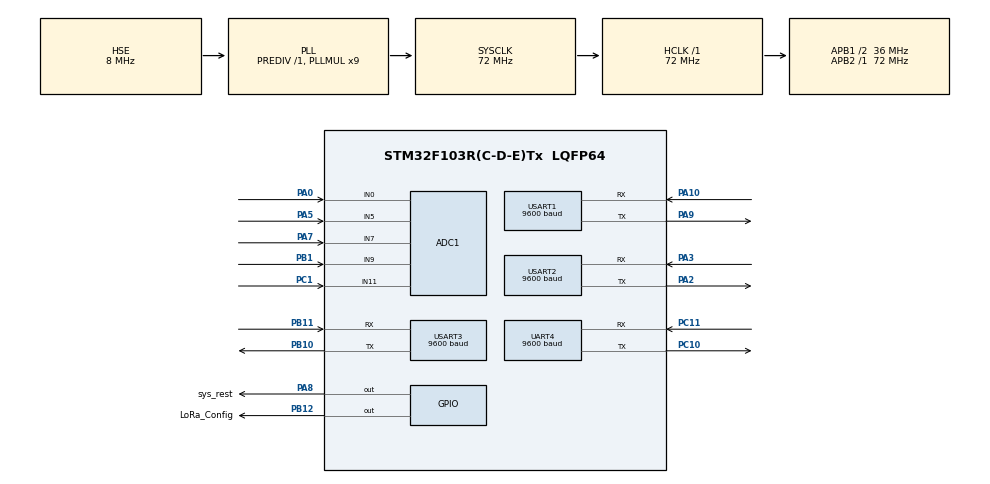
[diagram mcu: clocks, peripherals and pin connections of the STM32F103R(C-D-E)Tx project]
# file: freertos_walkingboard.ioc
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ADC1.Channel-0\#ChannelRegularConversion=ADC_CHANNEL_0
ADC1.Channel-1\#ChannelRegularConversion=ADC_CHANNEL_5
ADC1.Channel-2\#ChannelRegularConversion=ADC_CHANNEL_7
ADC1.Channel-3\#ChannelRegularConversion=ADC_CHANNEL_9
ADC1.Channel-4\#ChannelRegularConversion=ADC_CHANNEL_11
ADC1.ContinuousConvMode=ENABLE
ADC1.NbrOfConversion=5
ADC1.NbrOfConversionFlag=1
ADC1.Rank-0\#ChannelRegularConversion=1
ADC1.Rank-1\#ChannelRegularConversion=2
ADC1.Rank-2\#ChannelRegularConversion=3
ADC1.Rank-3\#ChannelRegularConversion=4
ADC1.Rank-4\#ChannelRegularConversion=5
ADC1.SamplingTime-0\#ChannelRegularConversion=ADC_SAMPLETIME_239CYCLES_5
ADC1.SamplingTime-1\#ChannelRegularConversion=ADC_SAMPLETIME_239CYCLES_5
ADC1.SamplingTime-2\#ChannelRegularConversion=ADC_SAMPLETIME_239CYCLES_5
ADC1.SamplingTime-3\#ChannelRegularConversion=ADC_SAMPLETIME_239CYCLES_5
ADC1.SamplingTime-4\#ChannelRegularConversion=ADC_SAMPLETIME_239CYCLES_5
ADC1.master=1
Dma.ADC1.0.Direction=DMA_PERIPH_TO_MEMORY
Dma.ADC1.0.Instance=DMA1_Channel1
Dma.ADC1.0.MemDataAlignment=DMA_MDATAALIGN_HALFWORD
Dma.ADC1.0.MemInc=DMA_MINC_ENABLE
Dma.ADC1.0.Mode=DMA_CIRCULAR
Dma.ADC1.0.PeriphDataAlignment=DMA_PDATAALIGN_HALFWORD
Dma.ADC1.0.PeriphInc=DMA_PINC_DISABLE
Dma.ADC1.0.Priority=DMA_PRIORITY_LOW
Dma.Request0=ADC1
FREERTOS.BinarySemaphores01=myBinarySem_Communication,Dynamic,NULL
FREERTOS.Tasks01=Uart4_LoRa_Task,0,300,Start_LoRa_FNC,Default,NULL,Dynamic,NULL,NULL;Battery_Task_1,-2,128,Start_Battery_FNC,Default,NULL,Dynamic,NULL,NULL;Angle_Task_2,-2,128,Start_Angle_FNC,Default,NULL,Dynamic,NULL,NULL;GNSS_Task_3,-2,200,Start_GNSS_FNC,Default,NULL,Dynamic,NULL,NULL;Pull_Task_0,-2,128,Start_Pull_FNC,Default,NULL,Dynamic,NULL,NULL;Upstream_Task,-2,128,Start_upstream_FNC,Default,NULL,Dynamic,NULL,NULL
FREERTOS.configTOTAL_HEAP_SIZE=6144
Mcu.Family=STM32F1
Mcu.Name=STM32F103R(C-D-E)Tx
Mcu.Package=LQFP64
NVIC.DMA1_Channel1_IRQn=true\:5\:0\:false\:false\:true\:true\:false\:true
NVIC.PriorityGroup=NVIC_PRIORITYGROUP_4
NVIC.TIM6_IRQn=true\:0\:0\:false\:false\:true\:false\:false\:true
NVIC.TimeBase=TIM6_IRQn
NVIC.TimeBaseIP=TIM6
NVIC.UART4_IRQn=true\:5\:0\:false\:false\:true\:true\:true\:true
NVIC.USART1_IRQn=true\:5\:0\:false\:false\:true\:true\:true\:true
NVIC.USART2_IRQn=true\:5\:0\:false\:false\:true\:true\:true\:true
NVIC.USART3_IRQn=true\:5\:0\:false\:false\:true\:true\:true\:true
PA0-WKUP.Signal=ADCx_IN0
PA10.Mode=Asynchronous
PA10.Signal=USART1_RX
PA13.Mode=Serial_Wire
PA13.Signal=SYS_JTMS-SWDIO
PA14.Mode=Serial_Wire
PA14.Signal=SYS_JTCK-SWCLK
PA2.Mode=Asynchronous
PA2.Signal=USART2_TX
PA3.Mode=Asynchronous
PA3.Signal=USART2_RX
PA5.Signal=ADCx_IN5
PA7.Signal=ADCx_IN7
PA8.GPIO_Label=sys_rest
PA8.PinState=GPIO_PIN_SET
PA8.Signal=GPIO_Output
PA9.Mode=Asynchronous
PA9.Signal=USART1_TX
PB1.Signal=ADCx_IN9
PB10.Mode=Asynchronous
PB10.Signal=USART3_TX
PB11.Mode=Asynchronous
PB11.Signal=USART3_RX
PB12.GPIO_Label=LoRa_Config
PB12.PinState=GPIO_PIN_SET
PB12.Signal=GPIO_Output
PC1.Signal=ADCx_IN11
PC10.Mode=Asynchronous
PC10.Signal=UART4_TX
PC11.Mode=Asynchronous
PC11.Signal=UART4_RX
PD0-OSC_IN.Mode=HSE-External-Oscillator
PD0-OSC_IN.Signal=RCC_OSC_IN
PD1-OSC_OUT.Mode=HSE-External-Oscillator
PD1-OSC_OUT.Signal=RCC_OSC_OUT
ProjectManager.HeapSize=0x200
ProjectManager.StackSize=0x400
ProjectManager.TargetToolchain=MDK-ARM V5.27
RCC.ADCPresc=RCC_ADCPCLK2_DIV6
RCC.AHBFreq_Value=72000000
RCC.APB1CLKDivider=RCC_HCLK_DIV2
RCC.APB1Freq_Value=36000000
RCC.APB1TimFreq_Value=72000000
RCC.APB2Freq_Value=72000000
RCC.APB2TimFreq_Value=72000000
RCC.HCLKFreq_Value=72000000
RCC.PLLMUL=RCC_PLL_MUL9
RCC.PLLSourceVirtual=RCC_PLLSOURCE_HSE
RCC.SYSCLKFreq_VALUE=72000000
RCC.SYSCLKSource=RCC_SYSCLKSOURCE_PLLCLK
RCC.USBFreq_Value=72000000
SH.ADCx_IN0.0=ADC1_IN0,IN0
SH.ADCx_IN11.0=ADC1_IN11,IN11
SH.ADCx_IN5.0=ADC1_IN5,IN5
SH.ADCx_IN7.0=ADC1_IN7,IN7
SH.ADCx_IN9.0=ADC1_IN9,IN9
UART4.BaudRate=9600
UART4.VirtualMode=Asynchronous
USART1.BaudRate=9600
USART1.Mode=MODE_RX
USART1.VirtualMode=VM_ASYNC
USART2.BaudRate=9600
USART2.Mode=MODE_RX
USART2.VirtualMode=VM_ASYNC
USART3.BaudRate=9600
USART3.Mode=MODE_RX
USART3.VirtualMode=VM_ASYNC
VP_FREERTOS_VS_CMSIS_V1.Mode=CMSIS_V1
VP_SYS_VS_tim6.Mode=TIM6
board=custom

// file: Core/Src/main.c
/* USER CODE BEGIN Header */
/**
  ******************************************************************************
  * @file           : main.c
  * @brief          : Main program body
  ******************************************************************************
  * @attention
  *
  * <h2><center>&copy; Copyright (c) 2022 STMicroelectronics.
  * All rights reserved.</center></h2>
  *
  * This software component is licensed by ST under BSD 3-Clause license,
  * the "License"; You may not use this file except in compliance with the
  * License. You may obtain a copy of the License at:
  *                        opensource.org/licenses/BSD-3-Clause
  *
  ******************************************************************************
  */
/* USER CODE END Header */
#include "main.h"
#include "cmsis_os.h"
#include "adc.h"
#include "dma.h"
#include "usart.h"
#include "gpio.h"

/* USER CODE BEGIN Includes */
#include "cmsis_armcc.h"
#include "FreeRTOS.h"
/* USER CODE END Includes */

/* USER CODE BEGIN PV */
extern osThreadId Pull_Task_0Handle;
extern osThreadId Battery_Task_1Handle;
extern osThreadId Angle_Task_2Handle;
extern osThreadId GNSS_Task_3Handle;
extern osSemaphoreId myBinarySem_CommunicationHandle;
/* USER CODE END PV */

void SystemClock_Config(void);
void MX_FREERTOS_Init(void);

int main(void)
{

  /* MCU Configuration--------------------------------------------------------*/

  /* Reset of all peripherals, Initializes the Flash interface and the Systick. */
  HAL_Init();

  /* Configure the system clock */
  SystemClock_Config();

  /* Initialize all configured peripherals */
  MX_GPIO_Init();
  MX_DMA_Init();
  MX_UART4_Init();
  MX_USART1_UART_Init();
  MX_USART2_UART_Init();
  MX_USART3_UART_Init();
  MX_ADC1_Init();
  /* USER CODE BEGIN 2 */
	LED_Systrm_ON();
	HAL_ADCEx_Calibration_Start(&hadc1);
  /* USER CODE END 2 */

  /* Call init function for freertos objects (in freertos.c) */
  MX_FREERTOS_Init();
  /* Start scheduler */
  osKernelStart();

  /* We should never get here as control is now taken by the scheduler */
  /* Infinite loop */
  while (1)
  {

  }
}

void SystemClock_Config(void)
{
  RCC_OscInitTypeDef RCC_OscInitStruct = {0};
  RCC_ClkInitTypeDef RCC_ClkInitStruct = {0};
  RCC_PeriphCLKInitTypeDef PeriphClkInit = {0};

  /** Initializes the RCC Oscillators according to the specified parameters
  * in the RCC_OscInitTypeDef structure.
  */
  RCC_OscInitStruct.OscillatorType = RCC_OSCILLATORTYPE_HSE;
  RCC_OscInitStruct.HSEState = RCC_HSE_ON;
  RCC_OscInitStruct.HSEPredivValue = RCC_HSE_PREDIV_DIV1;
  RCC_OscInitStruct.HSIState = RCC_HSI_ON;
  RCC_OscInitStruct.PLL.PLLState = RCC_PLL_ON;
  RCC_OscInitStruct.PLL.PLLSource = RCC_PLLSOURCE_HSE;
  RCC_OscInitStruct.PLL.PLLMUL = RCC_PLL_MUL9;
  if (HAL_RCC_OscConfig(&RCC_OscInitStruct) != HAL_OK)
  {
    Error_Handler();
  }
  /** Initializes the CPU, AHB and APB buses clocks
  */
  RCC_ClkInitStruct.ClockType = RCC_CLOCKTYPE_HCLK|RCC_CLOCKTYPE_SYSCLK
                              |RCC_CLOCKTYPE_PCLK1|RCC_CLOCKTYPE_PCLK2;
  RCC_ClkInitStruct.SYSCLKSource = RCC_SYSCLKSOURCE_PLLCLK;
  RCC_ClkInitStruct.AHBCLKDivider = RCC_SYSCLK_DIV1;
  RCC_ClkInitStruct.APB1CLKDivider = RCC_HCLK_DIV2;
  RCC_ClkInitStruct.APB2CLKDivider = RCC_HCLK_DIV1;

  if (HAL_RCC_ClockConfig(&RCC_ClkInitStruct, FLASH_LATENCY_2) != HAL_OK)
  {
    Error_Handler();
  }
  PeriphClkInit.PeriphClockSelection = RCC_PERIPHCLK_ADC;
  PeriphClkInit.AdcClockSelection = RCC_ADCPCLK2_DIV6;
  if (HAL_RCCEx_PeriphCLKConfig(&PeriphClkInit) != HAL_OK)
  {
    Error_Handler();
  }
}

/* USER CODE BEGIN 4 */
/***********************************STM32软件复位***********************************/
void Reset_Exec(void) //复位函数
{
	__set_FAULTMASK(1);
	NVIC_SystemReset();
}

/***********************************中断回调函数***********************************/
void HAL_UART_RxCpltCallback(UART_HandleTypeDef *huart)
{
	if(huart->Instance==USART1)
	{
		osSignalSet(Battery_Task_1Handle,Signal_BIT);
	}
	if(huart->Instance==USART2)
	{
		osSignalSet(Angle_Task_2Handle,Signal_BIT);
	}
}
void HAL_UARTEx_RxEventCallback(UART_HandleTypeDef *huart, uint16_t Size)
{
	if(huart->Instance == USART3)
	{
		osSignalSet(GNSS_Task_3Handle,Signal_BIT);
	}
	if(huart->Instance==UART4)
	{
		osSemaphoreRelease(myBinarySem_CommunicationHandle);
	}
}
void HAL_ADC_ConvCpltCallback(ADC_HandleTypeDef* hadc)
{
	if(hadc->Instance == ADC1)
	{
		osSignalSet(Pull_Task_0Handle,Signal_BIT);
	}
}

/* USER CODE END 4 */

 /**
  * @brief  Period elapsed callback in non blocking mode
  * @note   This function is called  when TIM6 interrupt took place, inside
  * HAL_TIM_IRQHandler(). It makes a direct call to HAL_IncTick() to increment
  * a global variable "uwTick" used as application time base.
  * @param  htim : TIM handle
  * @retval None
  */
void HAL_TIM_PeriodElapsedCallback(TIM_HandleTypeDef *htim)
{
  if (htim->Instance == TIM6) {
    HAL_IncTick();
  }
}

void Error_Handler(void)
{
  __disable_irq();
  while (1)
  {
  }
}

/************************ (C) COPYRIGHT STMicroelectronics *****END OF FILE****/

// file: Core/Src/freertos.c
/* USER CODE BEGIN Header */
/**
  ******************************************************************************
  * File Name          : freertos.c
  * Description        : Code for freertos applications
  ******************************************************************************
  * @attention
  *
  * <h2><center>&copy; Copyright (c) 2022 STMicroelectronics.
  * All rights reserved.</center></h2>
  *
  * This software component is licensed by ST under Ultimate Liberty license
  * SLA0044, the "License"; You may not use this file except in compliance with
  * the License. You may obtain a copy of the License at:
  *                             www.st.com/SLA0044
  *
  ******************************************************************************
  */
/* USER CODE END Header */

#include "FreeRTOS.h"
#include "task.h"
#include "main.h"
#include "cmsis_os.h"

/* USER CODE BEGIN Includes */
#include "battery.h"
#include "angle.h"
#include "gnss.h"
#include "LoRa.h"
#include "pull.h"
#include "main.h"
#include "event_groups.h"
/* USER CODE END Includes */

/* USER CODE BEGIN Variables */
extern uint8_t AngleBuffer_old[66];
extern uint8_t GnssBuffer_old[100];
extern uint8_t CmdData_Rx[MAX_Num_of_Relay*Size_of_Relay];
extern uint16_t PullBuffer_old[adc_avg][adc_channel];
extern uint8_t BatteryBuffer_old[32];

EventGroupHandle_t Upstream_Event_Handle;
/* USER CODE END Variables */
osThreadId Uart4_LoRa_TaskHandle;
osThreadId Battery_Task_1Handle;
osThreadId Angle_Task_2Handle;
osThreadId GNSS_Task_3Handle;
osThreadId Pull_Task_0Handle;
osThreadId Upstream_TaskHandle;
osSemaphoreId myBinarySem_CommunicationHandle;

void Start_LoRa_FNC(void const * argument);
void Start_Battery_FNC(void const * argument);
void Start_Angle_FNC(void const * argument);
void Start_GNSS_FNC(void const * argument);
void Start_Pull_FNC(void const * argument);
void Start_upstream_FNC(void const * argument);

void MX_FREERTOS_Init(void); /* (MISRA C 2004 rule 8.1) */

/* GetIdleTaskMemory prototype (linked to static allocation support) */
void vApplicationGetIdleTaskMemory( StaticTask_t **ppxIdleTaskTCBBuffer, StackType_t **ppxIdleTaskStackBuffer, uint32_t *pulIdleTaskStackSize );

/* USER CODE BEGIN GET_IDLE_TASK_MEMORY */
static StaticTask_t xIdleTaskTCBBuffer;
static StackType_t xIdleStack[configMINIMAL_STACK_SIZE];

void vApplicationGetIdleTaskMemory( StaticTask_t **ppxIdleTaskTCBBuffer, StackType_t **ppxIdleTaskStackBuffer, uint32_t *pulIdleTaskStackSize )
{
  *ppxIdleTaskTCBBuffer = &xIdleTaskTCBBuffer;
  *ppxIdleTaskStackBuffer = &xIdleStack[0];
  *pulIdleTaskStackSize = configMINIMAL_STACK_SIZE;
  /* place for user code */
}
/* USER CODE END GET_IDLE_TASK_MEMORY */

void MX_FREERTOS_Init(void) {

  /* Create the semaphores(s) */
  /* definition and creation of myBinarySem_Communication */
  osSemaphoreDef(myBinarySem_Communication);
  myBinarySem_CommunicationHandle = osSemaphoreCreate(osSemaphore(myBinarySem_Communication), 1);

  /* USER CODE BEGIN RTOS_QUEUES */
  /* add queues, ... */
	Upstream_Event_Handle=xEventGroupCreate();
  /* USER CODE END RTOS_QUEUES */

  /* Create the thread(s) */
  /* definition and creation of Uart4_LoRa_Task */
  osThreadDef(Uart4_LoRa_Task, Start_LoRa_FNC, osPriorityNormal, 0, 300);
  Uart4_LoRa_TaskHandle = osThreadCreate(osThread(Uart4_LoRa_Task), NULL);

  /* definition and creation of Battery_Task_1 */
  osThreadDef(Battery_Task_1, Start_Battery_FNC, osPriorityLow, 0, 128);
  Battery_Task_1Handle = osThreadCreate(osThread(Battery_Task_1), NULL);

  /* definition and creation of Angle_Task_2 */
  osThreadDef(Angle_Task_2, Start_Angle_FNC, osPriorityLow, 0, 128);
  Angle_Task_2Handle = osThreadCreate(osThread(Angle_Task_2), NULL);

  /* definition and creation of GNSS_Task_3 */
  osThreadDef(GNSS_Task_3, Start_GNSS_FNC, osPriorityLow, 0, 200);
  GNSS_Task_3Handle = osThreadCreate(osThread(GNSS_Task_3), NULL);

  /* definition and creation of Pull_Task_0 */
  osThreadDef(Pull_Task_0, Start_Pull_FNC, osPriorityLow, 0, 128);
  Pull_Task_0Handle = osThreadCreate(osThread(Pull_Task_0), NULL);

  /* definition and creation of Upstream_Task */
  osThreadDef(Upstream_Task, Start_upstream_FNC, osPriorityLow, 0, 128);
  Upstream_TaskHandle = osThreadCreate(osThread(Upstream_Task), NULL);

}

void Start_LoRa_FNC(void const * argument)
{
  /* USER CODE BEGIN Start_LoRa_FNC */
  /* Infinite loop */
	for(;;)
  {
		HAL_UARTEx_ReceiveToIdle_IT(&huart4,CmdData_Rx,MAX_Num_of_Relay*Size_of_Relay);
//		if(osMutexWait(myMutex_UART4Handle,0)==osOK)
//		{
			if(osSemaphoreWait(myBinarySem_CommunicationHandle,osWaitForever)==osOK)
			{
				LoRa_Handle();//对上位机发送的命令进行处理
			}
//			osMutexRelease(myMutex_UART4Handle);
//		}

    osDelay(2);
  }
  /* USER CODE END Start_LoRa_FNC */
}

void Start_Battery_FNC(void const * argument)
{
  /* USER CODE BEGIN Start_Battery_FNC */
  /* Infinite loop */
	osEvent event_battery;
//	uint32_t notify_value1=0;
	for(;;)
  {
		HAL_UART_Receive_IT(&huart1,BatteryBuffer_old,32);
		event_battery=osSignalWait(Signal_BIT,osWaitForever);
		if(event_battery.value.signals&Signal_BIT)
		{
			Battery_Data_Handle();
		}
    osDelay(1);
  }
  /* USER CODE END Start_Battery_FNC */
}

void Start_Angle_FNC(void const * argument)
{
  /* USER CODE BEGIN Start_Angle_FNC */
  /* Infinite loop */
//  uint32_t notify_value;
//	uint32_t notify_value2=0;
	osEvent event_angle;
	for(;;)
  {
		HAL_UART_Receive_IT(&huart2,AngleBuffer_old,66);
//		notify_value2=osThreadFlagsWait(Signal_BIT,osFlagsWaitAll,osWaitForever);
//		if(notify_value2&Signal_BIT)
		event_angle=osSignalWait(Signal_BIT,osWaitForever);
		if(event_angle.value.signals&Signal_BIT)
		{
			Angle_Data_Handle();
		}
    osDelay(1);
  }
  /* USER CODE END Start_Angle_FNC */
}

void Start_GNSS_FNC(void const * argument)
{
  /* USER CODE BEGIN Start_GNSS_FNC */
  /* Infinite loop */
//  uint32_t notify_value3=0;
	osEvent event_gnss;
	for(;;)
  {
		HAL_UARTEx_ReceiveToIdle_IT(&huart3,GnssBuffer_old,100);
//		notify_value3=osThreadFlagsWait(Signal_BIT,osFlagsWaitAll,osWaitForever);
//		if(notify_value3&Signal_BIT)
//		if(osSemaphoreAcquire(myBinarySem_GNSSHandle,osWaitForever)==osOK)
		event_gnss=osSignalWait(Signal_BIT,osWaitForever);
		if(event_gnss.value.signals&Signal_BIT)
		{
			Gnss_Data_Handle();
		}
    osDelay(1);
  }
  /* USER CODE END Start_GNSS_FNC */
}

void Start_Pull_FNC(void const * argument)
{
  /* USER CODE BEGIN Start_Pull_FNC */
  /* Infinite loop */
//	uint32_t notify_value0=0;
	osEvent event_pull;
	HAL_ADC_Start_DMA(&hadc1,(uint32_t*)PullBuffer_old,adc_avg*adc_channel);
	for(;;)
  {
//		notify_value0=osThreadFlagsWait(Signal_BIT,osFlagsWaitAll,osWaitForever);
//		if(notify_value0&Signal_BIT)
		event_pull=osSignalWait(Signal_BIT,osWaitForever);
		if(event_pull.value.signals&Signal_BIT)
		{
			Pull_Data_Handle();
		}
    osDelay(1);
  }
  /* USER CODE END Start_Pull_FNC */
}

void Start_upstream_FNC(void const * argument)
{
  /* USER CODE BEGIN Start_upstream_FNC */
  /* Infinite loop */
	for(;;)
  {
		if(xEventGroupWaitBits(Upstream_Event_Handle,Handshake_Event|Received_Relay_Event,pdFALSE,pdTRUE,portMAX_DELAY))
		{
			LoRa_Operation();
		}
    osDelay(600);
  }
  /* USER CODE END Start_upstream_FNC */
}

/************************ (C) COPYRIGHT STMicroelectronics *****END OF FILE****/
